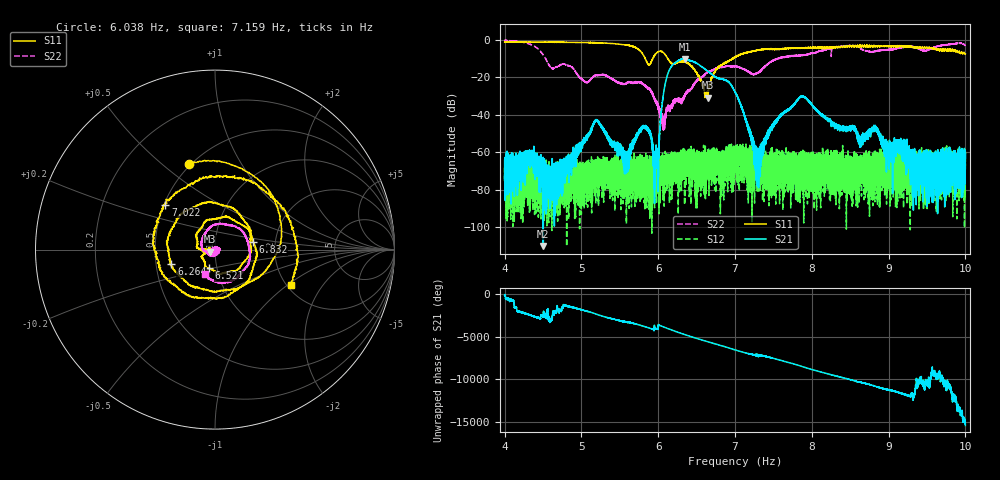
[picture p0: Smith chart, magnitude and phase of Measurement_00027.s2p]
!Created with skrf (http://scikit-rf.org).
# Hz S RI R 50.0
!freq ReS11 ImS11 ReS21 ImS21 ReS12 ImS12 ReS22 ImS22
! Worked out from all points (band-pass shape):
!   14001 points, 4 Hz to 10 Hz, reference 50 ohm
!   highest |S21| = -10.02 dB at 6.344 Hz (marker M1); lowest = -110.2 dB at 4.504 Hz (marker M2)
!   |S21| within 3 dB of the highest: 6.195109 Hz to 6.195449 Hz (339.6 uHz wide, 0.00548 % of centre); 6.196 Hz to 6.526 Hz (329.8 mHz wide, 5.18 % of centre)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
!   lowest |S11| = -30.9 dB at 6.645 Hz (marker M3), VSWR 1.06, Z = 47.4 - j1.04 ohm
!   |S11| at or under -10 dB: 5.832 Hz to 5.928 Hz (95.9 mHz wide, 1.63 % of centre); 6.125 Hz to 6.96 Hz (834.8 mHz wide, 12.8 % of centre); 6.960716 Hz to 6.961668 Hz (951.4 uHz wide, 0.0137 % of centre)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
!   |S22| runs from -48.4 to -0.2 dB; largest |S21 - S12| = 0.32
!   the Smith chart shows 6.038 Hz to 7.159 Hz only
!   S11 on the Smith chart (normalised r, x): 6.038 Hz: 0.49, +0.62; 6.264 Hz: 0.60, -0.10; 6.521 Hz: 0.91, -0.19; 6.832 Hz: 1.53, +0.13; 7.022 Hz: 0.51, +0.30; 7.159 Hz: 2.09, -1.06
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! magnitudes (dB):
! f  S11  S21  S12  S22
! 4 Hz  -1.1  -74.8  -68.3  -0.2
! 4.504 Hz  -1.1  -110.2  -76.9  -7.9
! 5 Hz  -1.3  -56.7  -71.4  -20.7
! 5.197 Hz  -1.4  -42.6  -68.8  -18.8
! 5.577 Hz  -2.6  -65.8  -65.9  -23.4
! 5.812 Hz  -8.3  -46.4  -69.8  -23.9
! 6 Hz  -6.2  -66.0  -71.1  -35.5
! 6.038 Hz  -6.0  -38.9  -72.1  -40.1
! 6.121 Hz  -9.7  -18.6  -70.0  -36.1
! 6.264 Hz  -11.9  -10.9  -67.1  -31.7
! 6.344 Hz  -11.5  -10.0  -88.1  -30.3
! 6.521 Hz  -19.2  -12.9  -71.1  -21.2
! 6.645 Hz  -30.9  -16.7  -65.2  -17.2
! 6.832 Hz  -13.4  -20.7  -62.5  -14.6
! 7 Hz  -9.1  -27.7  -57.8  -14.0
! 7.022 Hz  -8.6  -29.5  -57.5  -14.1
! 7.159 Hz  -6.6  -45.2  -61.0  -16.6
! 7.294 Hz  -5.3  -64.7  -66.1  -17.5
! 7.596 Hz  -4.6  -39.7  -67.3  -9.3
! 8 Hz  -4.2  -34.6  -66.2  -6.9
! 9 Hz  -3.4  -58.0  -69.7  -5.1
! 10 Hz  -7.4  -63.0  -59.7  -3.1
